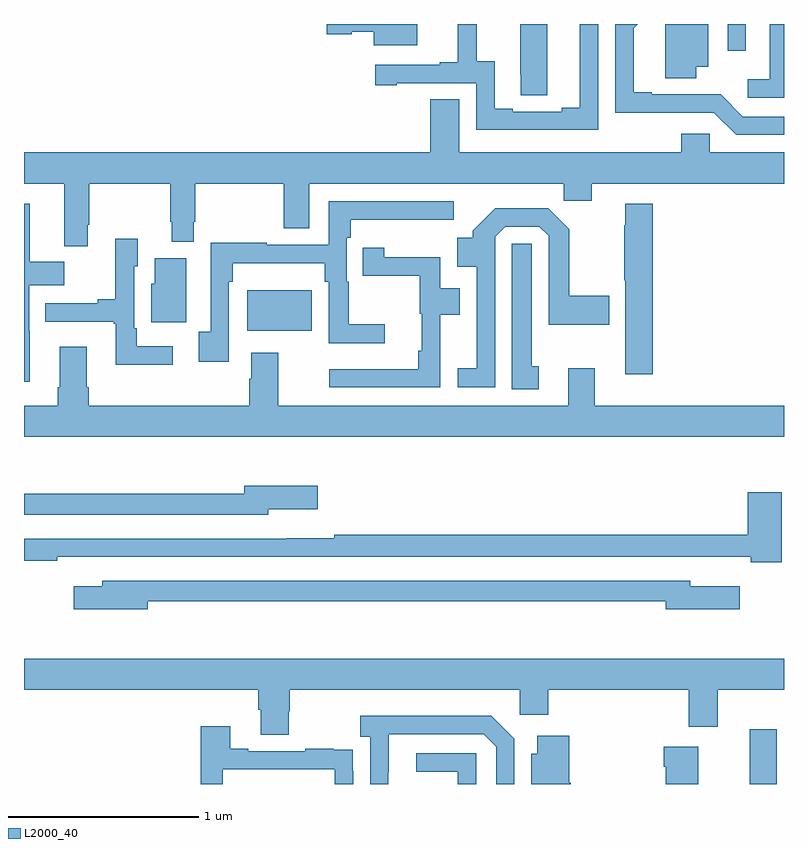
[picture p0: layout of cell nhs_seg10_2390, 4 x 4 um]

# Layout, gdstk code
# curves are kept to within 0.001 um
import gdstk
lib = gdstk.Library(unit=1e-6, precision=1e-09)
def R(c, l, rs):  # rectangles x0, y0, x1, y1
    for r in rs: c.add(gdstk.rectangle(r[:2], r[2:], *l))
def P(c, l, *ps):  # polygons
    for p in ps: c.add(gdstk.Polygon(p, *l))
L2000_40 = (2000, 40)

nhs_seg10_2390 = lib.new_cell('nhs_seg10_2390')
R(nhs_seg10_2390, L2000_40, [(242.819,1286.5,242.962,1286.788), (240.176,1288.886,240.514,1289.098), (242.703,1290.36,242.799,1290.5)])
P(nhs_seg10_2390, L2000_40, [(243,1290.5),(242.924,1290.5),(242.924,1290.208),(242.808,1290.208),(242.808,1290.111),(243,1290.111)],
  [(242.022,1290.5),(241.925,1290.5),(241.925,1290.059),(241.829,1290.059),(241.829,1290.039),(241.573,1290.039),(241.573,1290.054),(241.477,1290.054),(241.477,1290.305),(241.383,1290.305),(241.383,1290.5),(241.283,1290.5),(241.283,1290.298),(241.187,1290.298),(241.187,1290.285),(240.849,1290.285),(240.849,1290.177),(240.961,1290.177),(240.961,1290.189),(241.38,1290.189),(241.38,1289.943),(242.022,1289.943)],
  [(242.539,1290.275),(242.602,1290.275),(242.602,1290.5),(242.375,1290.5),(242.375,1290.214),(242.539,1290.214)],
  [(241.753,1290.5),(241.613,1290.5),(241.613,1290.232),(241.614,1290.232),(241.614,1290.124),(241.753,1290.124)],
  [(241.069,1290.5),(240.594,1290.5),(240.594,1290.446),(240.726,1290.446),(240.726,1290.458),(240.842,1290.458),(240.842,1290.389),(241.069,1290.389)],
  [(243,1290.012),(242.784,1290.012),(242.666,1290.13),(242.305,1290.129),(242.305,1290.142),(242.209,1290.142),(242.209,1290.478),(242.231,1290.5),(242.112,1290.5),(242.112,1290.032),(242.631,1290.033),(242.748,1289.916),(243,1289.916)],
  [(239.335,1289.443),(239.343,1289.443),(239.343,1289.66),(239.77,1289.66),(239.77,1289.458),(239.777,1289.458),(239.777,1289.353),(239.893,1289.353),(239.893,1289.458),(239.901,1289.458),(239.901,1289.66),(240.367,1289.66),(240.367,1289.424),(240.502,1289.424),(240.502,1289.66),(241.84,1289.66),(241.84,1289.57),(241.987,1289.57),(241.987,1289.66),(243,1289.66),(243,1289.824),(242.61,1289.824),(242.61,1289.922),(242.459,1289.922),(242.459,1289.824),(241.291,1289.824),(241.291,1290.104),(241.139,1290.104),(241.139,1289.824),(239,1289.824),(239,1289.66),(239.213,1289.66),(239.213,1289.331),(239.335,1289.331)],
  [(240.078,1289.144),(240.098,1289.144),(240.098,1289.24),(240.583,1289.24),(240.583,1289.144),(240.603,1289.144),(240.603,1288.82),(240.898,1288.82),(240.898,1288.92),(240.709,1288.92),(240.709,1289.144),(240.699,1289.144),(240.699,1289.375),(240.719,1289.375),(240.719,1289.471),(241.261,1289.471),(241.261,1289.568),(240.603,1289.568),(240.603,1289.337),(240.278,1289.337),(240.278,1289.35),(239.982,1289.35),(239.982,1288.881),(239.919,1288.881),(239.919,1288.722),(240.078,1288.722)],
  [(239.029,1288.883),(239.028,1288.883),(239.028,1289.126),(239.213,1289.126),(239.213,1289.248),(239.03,1289.248),(239.03,1289.554),(239,1289.554),(239,1288.617),(239.029,1288.617)],
  [(242.309,1289.554),(242.165,1289.554),(242.165,1289.441),(242.158,1289.441),(242.158,1289.152),(242.165,1289.152),(242.165,1288.656),(242.309,1288.656)],
  [(241.479,1289.379),(241.533,1289.433),(241.713,1289.433),(241.761,1289.385),(241.761,1288.916),(242.08,1288.916),(242.08,1289.069),(241.87,1289.069),(241.87,1289.42),(241.76,1289.53),(241.48,1289.53),(241.363,1289.413),(241.363,1289.374),(241.28,1289.374),(241.28,1289.222),(241.383,1289.222),(241.383,1288.688),(241.284,1288.688),(241.284,1288.587),(241.479,1288.587)],
  [(239.782,1288.803),(239.593,1288.803),(239.593,1288.9),(239.58,1288.9),(239.58,1289.226),(239.599,1289.226),(239.599,1289.371),(239.479,1289.371),(239.479,1289.051),(239.387,1289.051),(239.387,1289.031),(239.113,1289.031),(239.113,1288.934),(239.472,1288.934),(239.472,1288.923),(239.483,1288.923),(239.483,1288.706),(239.782,1288.706)],
  [(241.708,1288.698),(241.672,1288.698),(241.672,1289.343),(241.568,1289.343),(241.568,1288.578),(241.708,1288.578)],
  [(241.191,1288.97),(241.294,1288.97),(241.294,1289.11),(241.191,1289.11),(241.191,1289.273),(240.895,1289.273),(240.895,1289.323),(240.784,1289.323),(240.784,1289.174),(241.083,1289.174),(241.083,1288.974),(241.094,1288.974),(241.094,1288.78),(241.075,1288.78),(241.075,1288.684),(240.606,1288.684),(240.606,1288.587),(241.191,1288.587)],
  [(239.853,1289.032),(239.854,1289.032),(239.854,1289.268),(239.687,1289.268),(239.687,1289.133),(239.669,1289.133),(239.669,1288.929),(239.853,1288.929)],
  [(243,1288.492),(242.005,1288.492),(242.005,1288.687),(241.865,1288.687),(241.865,1288.492),(240.337,1288.492),(240.337,1288.771),(240.197,1288.771),(240.197,1288.634),(240.185,1288.634),(240.185,1288.492),(239.342,1288.492),(239.342,1288.588),(239.329,1288.588),(239.329,1288.801),(239.189,1288.801),(239.189,1288.588),(239.177,1288.588),(239.177,1288.492),(239,1288.492),(239,1288.328),(243,1288.328)],
  [(240.286,1287.947),(240.547,1287.947),(240.547,1288.069),(240.158,1288.069),(240.158,1288.027),(239,1288.027),(239,1287.918),(240.286,1287.918)],
  [(242.988,1288.036),(242.81,1288.036),(242.81,1287.812),(240.634,1287.812),(240.634,1287.793),(240.382,1287.793),(240.382,1287.792),(239,1287.792),(239,1287.676),(239.174,1287.676),(239.174,1287.696),(242.602,1287.696),(242.602,1287.695),(242.826,1287.695),(242.826,1287.668),(242.988,1287.668)],
  [(239.65,1287.462),(242.378,1287.462),(242.378,1287.419),(242.767,1287.419),(242.767,1287.541),(242.506,1287.541),(242.506,1287.57),(239.411,1287.57),(239.411,1287.541),(239.262,1287.541),(239.262,1287.419),(239.65,1287.419)],
  [(240.393,1286.883),(240.398,1286.883),(240.398,1286.996),(241.608,1286.996),(241.608,1286.865),(241.76,1286.865),(241.76,1286.996),(242.498,1286.996),(242.498,1286.802),(242.65,1286.802),(242.65,1286.996),(243,1286.996),(243,1287.16),(239,1287.16),(239,1286.996),(240.233,1286.996),(240.233,1286.89),(240.245,1286.89),(240.245,1286.758),(240.393,1286.758)],
  [(240.918,1286.563),(240.919,1286.763),(241.419,1286.763),(241.485,1286.697),(241.485,1286.5),(241.581,1286.5),(241.581,1286.739),(241.46,1286.86),(240.771,1286.86),(240.771,1286.75),(240.822,1286.75),(240.822,1286.5),(240.918,1286.5)],
  [(240.045,1286.577),(240.636,1286.577),(240.636,1286.5),(240.732,1286.5),(240.732,1286.57),(240.731,1286.57),(240.731,1286.679),(240.629,1286.679),(240.629,1286.686),(240.481,1286.686),(240.481,1286.673),(240.181,1286.673),(240.181,1286.686),(240.085,1286.686),(240.085,1286.803),(239.929,1286.803),(239.929,1286.5),(240.045,1286.5)],
  [(241.877,1286.506),(241.871,1286.506),(241.871,1286.755),(241.7,1286.755),(241.7,1286.659),(241.67,1286.659),(241.67,1286.5),(241.877,1286.5)],
  [(242.548,1286.695),(242.366,1286.695),(242.366,1286.591),(242.378,1286.591),(242.378,1286.5),(242.548,1286.5)],
  [(241.38,1286.661),(241.065,1286.661),(241.065,1286.565),(241.284,1286.565),(241.284,1286.5),(241.38,1286.5)])

lib.write_gds('nhs_seg10_2390.gds')
